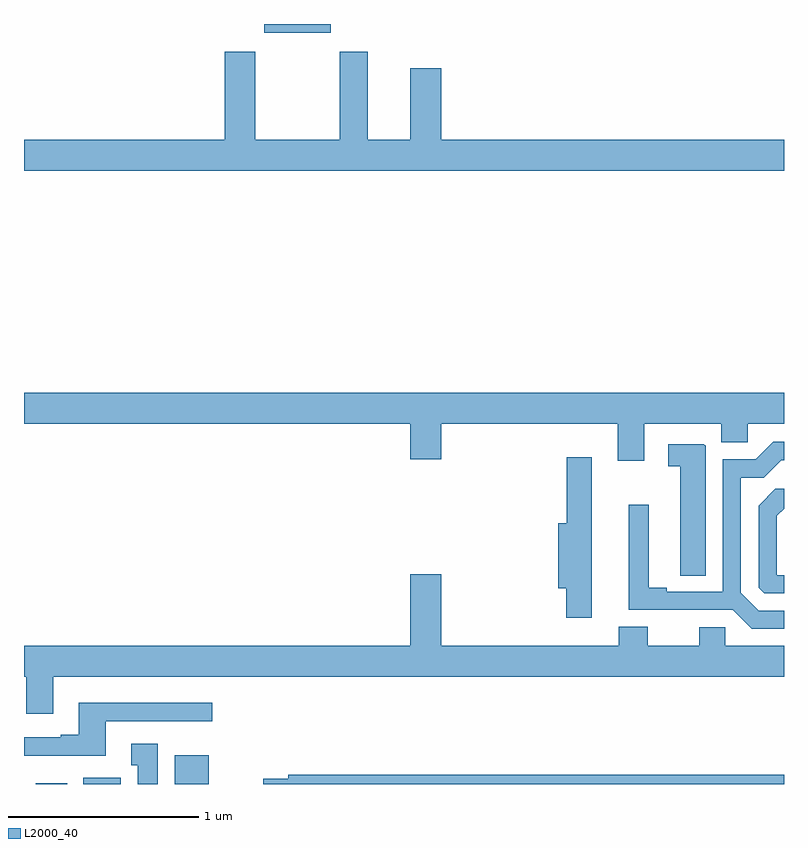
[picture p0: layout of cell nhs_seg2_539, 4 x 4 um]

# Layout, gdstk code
import gdstk
lib = gdstk.Library(unit=1e-6, precision=1e-09)
def R(c, l, rs):  # rectangles x0, y0, x1, y1
    for r in rs: c.add(gdstk.rectangle(r[:2], r[2:], *l))
def P(c, l, *ps):  # polygons
    for p in ps: c.add(gdstk.Polygon(p, *l))
L2000_40 = (2000, 40)

nhs_seg2_539 = lib.new_cell('nhs_seg2_539')
R(nhs_seg2_539, L2000_40, [(139.061,585.8,139.228,585.805), (139.313,585.8,139.51,585.832), (139.793,585.8,139.972,585.952), (140.264,589.754,140.614,589.8)])
P(nhs_seg2_539, L2000_40, [(143,589.192),(141.196,589.192),(141.196,589.567),(141.032,589.567),(141.032,589.192),(140.809,589.192),(140.809,589.654),(140.662,589.654),(140.662,589.192),(140.217,589.192),(140.217,589.654),(140.057,589.654),(140.057,589.192),(139,589.192),(139,589.028),(143,589.028)],
  [(142.264,587.696),(142.67,587.696),(142.67,587.598),(142.809,587.598),(142.809,587.696),(143,587.696),(143,587.86),(139,587.86),(139,587.696),(141.032,587.696),(141.032,587.508),(141.196,587.508),(141.196,587.696),(142.124,587.696),(142.124,587.502),(142.264,587.502)],
  [(143,586.713),(142.866,586.713),(142.773,586.806),(142.773,587.413),(142.894,587.413),(142.985,587.504),(143,587.504),(143,587.601),(142.944,587.601),(142.851,587.508),(142.677,587.508),(142.677,586.812),(142.384,586.812),(142.384,586.832),(142.288,586.832),(142.288,587.269),(142.184,587.269),(142.184,586.716),(142.73,586.716),(142.829,586.617),(143,586.617)],
  [(142.588,587.579),(142.578,587.589),(142.392,587.589),(142.392,587.473),(142.454,587.473),(142.454,586.897),(142.588,586.897)],
  [(141.988,587.521),(141.857,587.521),(141.857,587.173),(141.812,587.173),(141.812,586.829),(141.854,586.829),(141.854,586.674),(141.988,586.674)],
  [(143,586.899),(142.962,586.899),(142.962,587.211),(143,587.249),(143,587.354),(142.955,587.354),(142.866,587.265),(142.866,586.833),(142.896,586.803),(143,586.803)],
  [(139.153,586.364),(143,586.364),(143,586.528),(142.692,586.528),(142.692,586.626),(142.553,586.626),(142.553,586.528),(142.282,586.528),(142.282,586.627),(142.13,586.627),(142.13,586.528),(141.196,586.528),(141.196,586.903),(141.032,586.903),(141.032,586.528),(139,586.528),(139,586.364),(139.013,586.364),(139.013,586.17),(139.153,586.17)],
  [(139.429,586.131),(139.99,586.131),(139.99,586.228),(139.289,586.228),(139.289,586.06),(139.193,586.06),(139.193,586.047),(139,586.047),(139,585.95),(139.429,585.95)],
  [(139.705,586.012),(139.565,586.012),(139.565,585.899),(139.598,585.899),(139.598,585.8),(139.705,585.8)],
  [(143,585.848),(140.392,585.848),(140.392,585.828),(140.258,585.828),(140.258,585.8),(143,585.8)])

lib.write_gds('nhs_seg2_539.gds')
